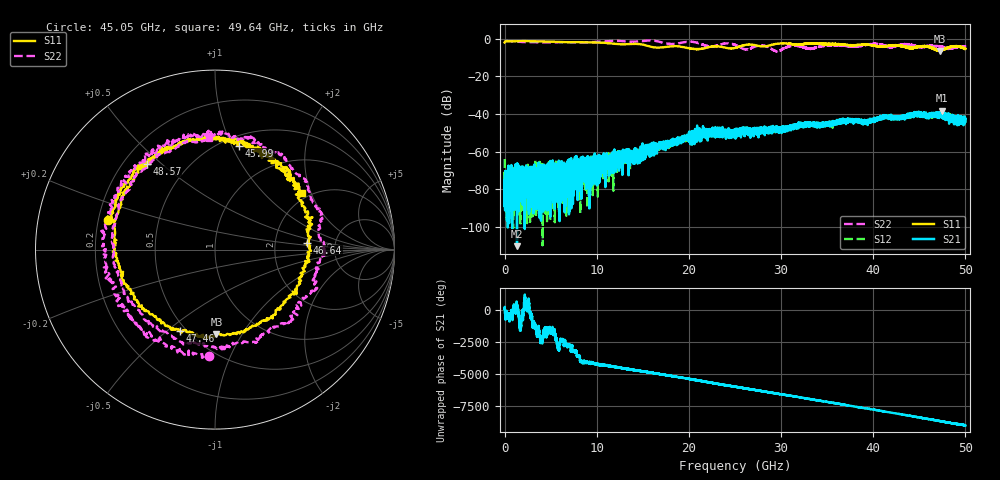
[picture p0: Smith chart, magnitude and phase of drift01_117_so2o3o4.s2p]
!Created with skrf (http://scikit-rf.org).
# Hz S RI R 50.0
!freq ReS11 ImS11 ReS21 ImS21 ReS12 ImS12 ReS22 ImS22
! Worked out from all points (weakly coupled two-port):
!   10001 points, 300 kHz to 50 GHz, reference 50 ohm
!   highest |S21| = -38.34 dB at 47.42 GHz (marker M1); lowest = -110.2 dB at 1.345 GHz (marker M2)
!   lowest |S11| = -6.5 dB at 47.29 GHz (marker M3), VSWR 2.78, Z = 32.3 - j39 ohm
!   |S11| at or under -10 dB: nowhere
!   |S22| runs from -6.8 to -1.0 dB; largest |S21 - S12| = 0.0034
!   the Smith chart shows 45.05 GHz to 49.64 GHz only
!   S11 on the Smith chart (normalised r, x): 45.05 GHz: 0.24, +0.13; 45.99 GHz: 0.60, +1.07; 46.64 GHz: 3.09, +0.33; 47.46 GHz: 0.46, -0.55; 48.57 GHz: 0.29, +0.45; 49.64 GHz: 1.81, +1.72
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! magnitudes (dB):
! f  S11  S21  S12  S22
! 300 kHz  -2.1  -75.2  -64.0  -1.3
! 255.3 MHz  -1.4  -73.2  -80.2  -1.4
! 1.345 GHz  -1.4  -110.2  -73.2  -1.7
! 2.825 GHz  -1.4  -70.4  -83.6  -2.0
! 5.56 GHz  -1.7  -80.4  -66.8  -2.0
! 8.335 GHz  -1.9  -85.0  -69.9  -2.1
! 16.67 GHz  -4.8  -58.4  -56.2  -1.6
! 21.71 GHz  -5.1  -49.6  -50.0  -3.6
! 25 GHz  -5.0  -51.5  -49.7  -3.4
! 29.54 GHz  -2.8  -47.6  -48.2  -6.7
! 31.27 GHz  -3.0  -46.9  -47.1  -4.0
! 33.34 GHz  -2.6  -45.7  -45.5  -5.4
! 41.67 GHz  -3.9  -41.4  -41.6  -4.4
! 45.05 GHz  -4.2  -39.6  -40.8  -4.6
! 45.99 GHz  -4.5  -41.0  -40.4  -3.9
! 46.64 GHz  -5.7  -40.0  -40.4  -3.6
! 47.29 GHz  -6.5  -40.2  -40.4  -4.0
! 47.42 GHz  -6.2  -38.3  -40.1  -4.5
! 47.46 GHz  -6.1  -40.1  -41.0  -4.3
! 48.57 GHz  -4.3  -42.1  -41.2  -5.1
! 49.64 GHz  -4.8  -43.4  -43.7  -4.1
! 50 GHz  -5.5  -44.2  -43.7  -4.2
